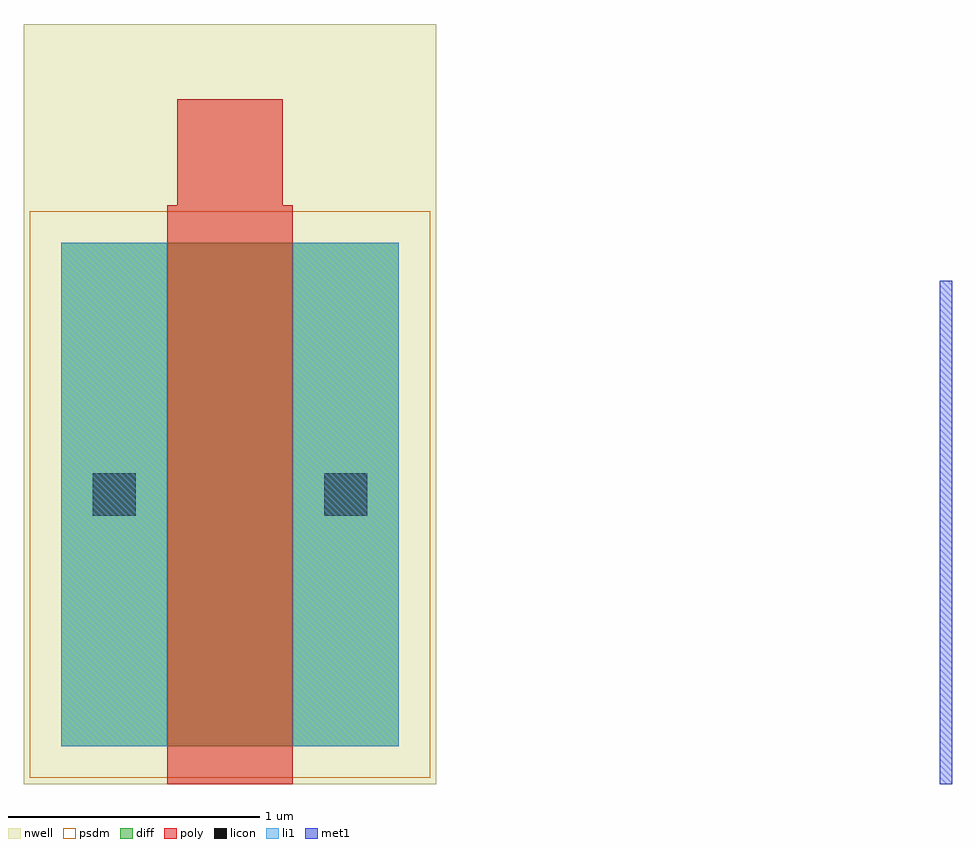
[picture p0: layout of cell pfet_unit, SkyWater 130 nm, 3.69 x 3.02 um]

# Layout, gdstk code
import gdstk
lib = gdstk.Library(unit=1e-6, precision=1e-09)
def R(c, l, rs):  # rectangles x0, y0, x1, y1
    for r in rs: c.add(gdstk.rectangle(r[:2], r[2:], *l))
nwell = (64, 20)
diff = (65, 20)
poly = (66, 20)
licon = (66, 44)
li1 = (67, 20)
met1 = (68, 20)
psdm = (94, 20)

mos_array = lib.new_cell('mos_array')
R(mos_array, nwell, [(-0.15,-0.15,1.49,2.87)])
R(mos_array, diff, [(0,0,1.34,2)])
R(mos_array, poly, [(0.42,-0.15,0.92,2), (0.42,2,0.92,2.15), (0.42,2,0.92,2.15), (0.46,2.15,0.88,2.57)])
R(mos_array, licon, [(0.125,0.915,0.295,1.085), (1.045,0.915,1.215,1.085)])
R(mos_array, li1, [(0,0,0.42,2), (0.92,0,1.34,2)])
R(mos_array, psdm, [(-0.125,-0.125,1.465,2.125)])

pfet_unit = lib.new_cell('pfet_unit')
R(pfet_unit, met1, [(3.49,-0.15,3.54,1.85)])
pfet_unit.add(gdstk.Reference(mos_array, (0,0)))

lib.write_gds('pfet_unit.gds')
